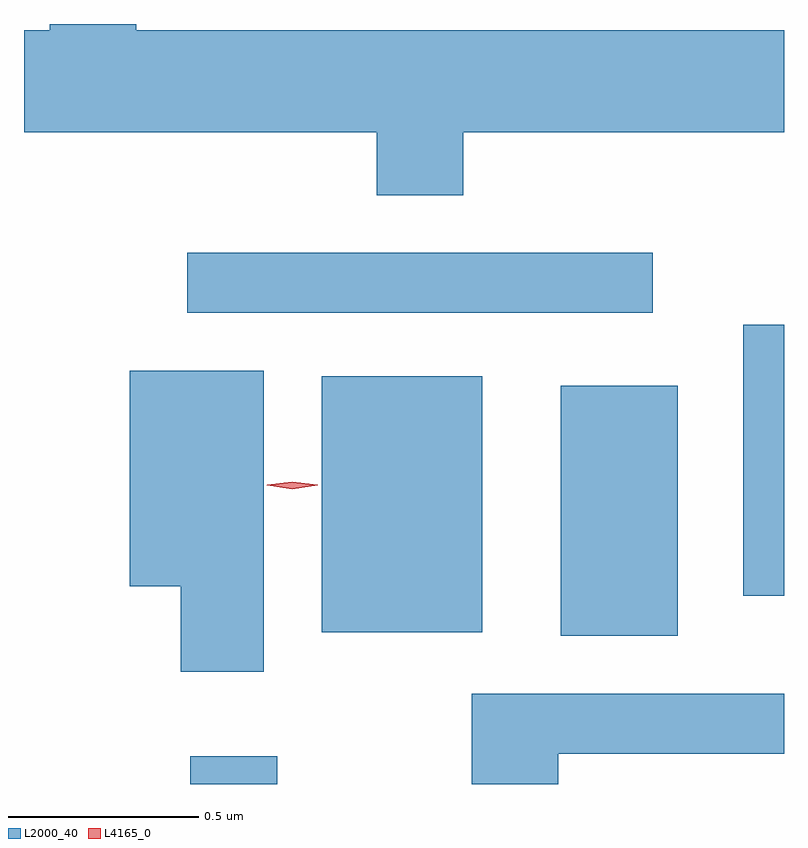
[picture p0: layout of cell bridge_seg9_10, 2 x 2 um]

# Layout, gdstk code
import gdstk
lib = gdstk.Library(unit=1e-6, precision=1e-09)
def R(c, l, rs):  # rectangles x0, y0, x1, y1
    for r in rs: c.add(gdstk.rectangle(r[:2], r[2:], *l))
def P(c, l, *ps):  # polygons
    for p in ps: c.add(gdstk.Polygon(p, *l))
L2000_40 = (2000, 40)
L4165_0 = (4165, 0)

bridge_seg9_10 = lib.new_cell('bridge_seg9_10')
R(bridge_seg9_10, L2000_40, [(1727.141,2025.621,1727.369,2025.694), (1728.116,2026.011,1728.424,2026.669), (1727.486,2026.021,1727.909,2026.694), (1728.596,2026.116,1728.703,2026.829), (1727.133,2026.861,1728.358,2027.019)])
P(bridge_seg9_10, L2000_40, [(1727.859,2027.336),(1728.703,2027.336),(1728.703,2027.604),(1726.999,2027.604),(1726.999,2027.621),(1726.771,2027.621),(1726.771,2027.604),(1726.703,2027.604),(1726.703,2027.336),(1727.631,2027.336),(1727.631,2027.171),(1727.859,2027.171)],
  [(1727.334,2026.709),(1726.981,2026.709),(1726.981,2026.141),(1727.116,2026.141),(1727.116,2025.916),(1727.334,2025.916)],
  [(1728.109,2025.701),(1728.703,2025.701),(1728.703,2025.859),(1727.881,2025.859),(1727.881,2025.621),(1728.109,2025.621)])
P(bridge_seg9_10, L4165_0, [(1727.409,2026.397),(1727.343,2026.407),(1727.342,2026.407),(1727.343,2026.408),(1727.409,2026.417),(1727.476,2026.408),(1727.476,2026.407),(1727.476,2026.407)])

lib.write_gds('bridge_seg9_10.gds')
